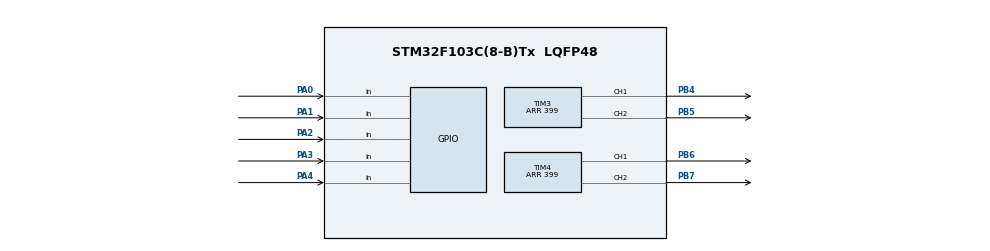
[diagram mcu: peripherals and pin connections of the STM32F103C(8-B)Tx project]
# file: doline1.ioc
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Mcu.Family=STM32F1
Mcu.Name=STM32F103C(8-B)Tx
Mcu.Package=LQFP48
NVIC.PriorityGroup=NVIC_PRIORITYGROUP_4
PA0-WKUP.Signal=GPIO_Input
PA1.Signal=GPIO_Input
PA13.Mode=Serial_Wire
PA13.Signal=SYS_JTMS-SWDIO
PA14.Mode=Serial_Wire
PA14.Signal=SYS_JTCK-SWCLK
PA2.Signal=GPIO_Input
PA3.Signal=GPIO_Input
PA4.Signal=GPIO_Input
PB4.Signal=S_TIM3_CH1
PB5.Signal=S_TIM3_CH2
PB6.Signal=S_TIM4_CH1
PB7.Signal=S_TIM4_CH2
ProjectManager.HeapSize=0x200
ProjectManager.StackSize=0x400
ProjectManager.TargetToolchain=STM32CubeIDE
RCC.APB1Freq_Value=8000000
RCC.APB2Freq_Value=8000000
SH.S_TIM3_CH1.0=TIM3_CH1,PWM Generation1 CH1
SH.S_TIM3_CH2.0=TIM3_CH2,PWM Generation2 CH2
SH.S_TIM4_CH1.0=TIM4_CH1,PWM Generation1 CH1
SH.S_TIM4_CH2.0=TIM4_CH2,PWM Generation2 CH2
TIM3.Channel-PWM\ Generation1\ CH1=TIM_CHANNEL_1
TIM3.Channel-PWM\ Generation2\ CH2=TIM_CHANNEL_2
TIM3.Period=399
TIM4.Channel-PWM\ Generation1\ CH1=TIM_CHANNEL_1
TIM4.Channel-PWM\ Generation2\ CH2=TIM_CHANNEL_2
TIM4.Period=399
board=custom

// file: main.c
/* USER CODE BEGIN Header */
/**
 * MCP201 - STM32F103C8T6 Blue Pill
 * LINE FOLLOWER - ON/OFF PWM v3.0
 *
 * LEFT MOTOR : PB6/PB7 - TIM4 CH1/CH2
 * RIGHT MOTOR: PB4/PB5 - TIM3 CH1/CH2
 *
 * S1 PA0 | S2 PA1 | S3 PA2 | S4 PA3 | S5 PA4
 *
 * BLACK = 0, WHITE = 1
 *
 * Motor commands: ONLY 0% or 65%
 * TIM3 requires partial remap PB4/PB5.
 * JTAG disabled, SWD enabled.
 */
/* USER CODE END Header */

#include "main.h"
#include <stdint.h>

/* Private variables */
TIM_HandleTypeDef htim3;
TIM_HandleTypeDef htim4;

/* USER CODE BEGIN PD */

#define RUN_MODE            2

// 0 = Sensor test (motors off)
// 1 = Straight motor test
// 2 = Automatic line following

#define MOTOR_ON            65
#define MOTOR_OFF           0

#define LOOP_MS             10U
#define LOST_CONFIRM_MS     30U
#define LOST_TIMEOUT_MS     500U

#define LINE_ACTIVE         0U

/* USER CODE END PD */

/* USER CODE BEGIN PV */

volatile uint8_t sensor[5] = {1, 1, 1, 1, 1};
volatile uint8_t sensor_mask = 0;
volatile uint8_t black_count = 0;

volatile float line_error = 0.0f;

volatile int16_t target_left = 0;
volatile int16_t target_right = 0;
volatile int16_t actual_left = 0;
volatile int16_t actual_right = 0;

volatile int8_t last_direction = 0;

volatile uint32_t lost_since = 0;
volatile uint8_t lost_active = 0;
volatile uint8_t emergency_latched = 0;

volatile uint8_t robot_state = 0;

// robot_state:
// 0 = STOP
// 1 = TRACKING
// 2 = LOST DEBOUNCE
// 3 = SHARP TURN SEARCH
// 4 = INVALID SENSOR PATTERN
// 5 = EMERGENCY STOP
// 7 = MOTOR TEST
// 8 = SENSOR TEST

/* USER CODE END PV */

/* Private function prototypes */
void SystemClock_Config(void);
static void MX_GPIO_Init(void);
static void MX_TIM4_Init(void);
static void MX_TIM3_Init(void);

/* USER CODE BEGIN 0 */

static void Motor_Write(
    TIM_HandleTypeDef *htim,
    uint32_t ch_forward,
    uint32_t ch_reverse,
    int16_t speed)
{
    // Strict ON/OFF output: 0 or 65 only.
    uint32_t pwm = (speed != 0) ? 260U : 0U;

    __HAL_TIM_SET_COMPARE(htim, ch_forward, 0);
    __HAL_TIM_SET_COMPARE(htim, ch_reverse, 0);

    if (speed > 0)
    {
        __HAL_TIM_SET_COMPARE(htim, ch_forward, pwm);
    }
    else if (speed < 0)
    {
        __HAL_TIM_SET_COMPARE(htim, ch_reverse, pwm);
    }
}

static void Motors_Set(int16_t left, int16_t right)
{
    // LEFT - TIM4 PB6/PB7
    Motor_Write(
        &htim4,
        TIM_CHANNEL_1,
        TIM_CHANNEL_2,
        left
    );

    // RIGHT - TIM3 PB4/PB5
    Motor_Write(
        &htim3,
        TIM_CHANNEL_1,
        TIM_CHANNEL_2,
        right
    );
}

static void Motors_Update(void)
{
    actual_left =
        (target_left > 0) ? MOTOR_ON : MOTOR_OFF;

    actual_right =
        (target_right > 0) ? MOTOR_ON : MOTOR_OFF;

    Motors_Set(actual_left, actual_right);
}

static void Motors_Stop(void)
{
    target_left = MOTOR_OFF;
    target_right = MOTOR_OFF;

    actual_left = MOTOR_OFF;
    actual_right = MOTOR_OFF;

    Motors_Set(MOTOR_OFF, MOTOR_OFF);
}

static void Emergency_Stop(void)
{
    emergency_latched = 1;
    robot_state = 5;
    Motors_Stop();
}

static void Sensors_Read(void)
{
    uint32_t pins = GPIOA->IDR;

    sensor_mask = 0;
    black_count = 0;

    for (uint8_t i = 0; i < 5; i++)
    {
        sensor[i] =
            (uint8_t)((pins >> i) & 1U);

        if (sensor[i] == LINE_ACTIVE)
        {
            sensor_mask |= (uint8_t)(1U << i);
            black_count++;
        }
    }
}

static uint8_t Sensors_Valid(void)
{
    // All black is ambiguous
    if (black_count == 5)
        return 0;

    uint8_t first = 5;
    uint8_t last = 0;

    for (uint8_t i = 0; i < 5; i++)
    {
        if (sensor[i] == LINE_ACTIVE)
        {
            if (first == 5)
                first = i;

            last = i;
        }
    }

    if (first == 5)
        return 0;

    // Reject non-contiguous black patterns
    for (uint8_t i = first; i <= last; i++)
    {
        if (sensor[i] != LINE_ACTIVE)
            return 0;
    }

    return 1;
}

static void Line_Follow_Update(void)
{
    Sensors_Read();

    // Remember direction using OUTER sensors only.
    // BLACK = 0
    if (sensor[0] == 0 && sensor[4] != 0)
    {
        last_direction = -1; // LEFT
    }
    else if (sensor[4] == 0 && sensor[0] != 0)
    {
        last_direction = 1;  // RIGHT
    }

    // ALL WHITE: keep searching until line returns
    if (black_count == 0)
    {
        robot_state = 3;

        if (last_direction < 0)
        {
            target_left = MOTOR_OFF;
            target_right = MOTOR_ON;
        }
        else if (last_direction > 0)
        {
            target_left = MOTOR_ON;
            target_right = MOTOR_OFF;
        }
        else
        {
            // No direction recorded yet
            target_left = MOTOR_OFF;
            target_right = MOTOR_OFF;
        }

        Motors_Update();
        return;
    }

    // ALL BLACK or invalid pattern
    if (!Sensors_Valid())
    {
        robot_state = 4;
        Motors_Stop();
        return;
    }

    // NORMAL LINE FOLLOWING
    // Weighted position S1..S5: -2,-1,0,+1,+2
    static const int8_t weights[5] =
    {
        -2, -1, 0, 1, 2
    };

    int16_t sum = 0;

    for (uint8_t i = 0; i < 5; i++)
    {
        if (sensor[i] == LINE_ACTIVE)
        {
            sum += weights[i];
        }
    }

    line_error = (float)sum / black_count;

    if (line_error < -0.01f)
    {
        target_left = MOTOR_OFF;
        target_right = MOTOR_ON;
    }
    else if (line_error > 0.01f)
    {
        target_left = MOTOR_ON;
        target_right = MOTOR_OFF;
    }
    else
    {
        target_left = MOTOR_ON;
        target_right = MOTOR_ON;
    }

    robot_state = 1;
    Motors_Update();
}

/* USER CODE END 0 */

int main(void)
{
    HAL_Init();
    SystemClock_Config();

    MX_GPIO_Init();
    MX_TIM4_Init();
    MX_TIM3_Init();

    /* USER CODE BEGIN 2 */

    if (HAL_TIM_PWM_Start(
        &htim3, TIM_CHANNEL_1) != HAL_OK)
        Error_Handler();

    if (HAL_TIM_PWM_Start(
        &htim3, TIM_CHANNEL_2) != HAL_OK)
        Error_Handler();

    if (HAL_TIM_PWM_Start(
        &htim4, TIM_CHANNEL_1) != HAL_OK)
        Error_Handler();

    if (HAL_TIM_PWM_Start(
        &htim4, TIM_CHANNEL_2) != HAL_OK)
        Error_Handler();

    Motors_Stop();

    /* USER CODE END 2 */

    while (1)
    {
        /* USER CODE BEGIN 3 */

#if RUN_MODE == 0

        Sensors_Read();
        Motors_Stop();
        robot_state = 8;

#elif RUN_MODE == 1

        Sensors_Read();

        target_left = MOTOR_ON;
        target_right = MOTOR_ON;

        robot_state = 7;
        Motors_Update();

#elif RUN_MODE == 2

        Line_Follow_Update();

#else

        Motors_Stop();

#endif

        HAL_Delay(LOOP_MS);

        /* USER CODE END 3 */
    }
}

/* System Clock Configuration */
void SystemClock_Config(void)
{
    RCC_OscInitTypeDef RCC_OscInitStruct = {0};
    RCC_ClkInitTypeDef RCC_ClkInitStruct = {0};

    RCC_OscInitStruct.OscillatorType =
        RCC_OSCILLATORTYPE_HSI;

    RCC_OscInitStruct.HSIState = RCC_HSI_ON;

    RCC_OscInitStruct.HSICalibrationValue =
        RCC_HSICALIBRATION_DEFAULT;

    RCC_OscInitStruct.PLL.PLLState = RCC_PLL_NONE;

    if (HAL_RCC_OscConfig(
        &RCC_OscInitStruct) != HAL_OK)
    {
        Error_Handler();
    }

    RCC_ClkInitStruct.ClockType =
        RCC_CLOCKTYPE_HCLK |
        RCC_CLOCKTYPE_SYSCLK |
        RCC_CLOCKTYPE_PCLK1 |
        RCC_CLOCKTYPE_PCLK2;

    RCC_ClkInitStruct.SYSCLKSource =
        RCC_SYSCLKSOURCE_HSI;

    RCC_ClkInitStruct.AHBCLKDivider =
        RCC_SYSCLK_DIV1;

    RCC_ClkInitStruct.APB1CLKDivider =
        RCC_HCLK_DIV1;

    RCC_ClkInitStruct.APB2CLKDivider =
        RCC_HCLK_DIV1;

    if (HAL_RCC_ClockConfig(
        &RCC_ClkInitStruct,
        FLASH_LATENCY_0) != HAL_OK)
    {
        Error_Handler();
    }
}

/* TIM3 Initialization */
static void MX_TIM3_Init(void)
{
    TIM_MasterConfigTypeDef sMasterConfig = {0};
    TIM_OC_InitTypeDef sConfigOC = {0};

    htim3.Instance = TIM3;
    htim3.Init.Prescaler = 0;
    htim3.Init.CounterMode = TIM_COUNTERMODE_UP;
    htim3.Init.Period = 399;
    htim3.Init.ClockDivision = TIM_CLOCKDIVISION_DIV1;
    htim3.Init.AutoReloadPreload =
        TIM_AUTORELOAD_PRELOAD_DISABLE;

    if (HAL_TIM_PWM_Init(&htim3) != HAL_OK)
        Error_Handler();

    sMasterConfig.MasterOutputTrigger =
        TIM_TRGO_RESET;

    sMasterConfig.MasterSlaveMode =
        TIM_MASTERSLAVEMODE_DISABLE;

    if (HAL_TIMEx_MasterConfigSynchronization(
        &htim3, &sMasterConfig) != HAL_OK)
        Error_Handler();

    sConfigOC.OCMode = TIM_OCMODE_PWM1;
    sConfigOC.Pulse = 0;
    sConfigOC.OCPolarity = TIM_OCPOLARITY_HIGH;
    sConfigOC.OCFastMode = TIM_OCFAST_DISABLE;

    if (HAL_TIM_PWM_ConfigChannel(
        &htim3, &sConfigOC, TIM_CHANNEL_1) != HAL_OK)
        Error_Handler();

    if (HAL_TIM_PWM_ConfigChannel(
        &htim3, &sConfigOC, TIM_CHANNEL_2) != HAL_OK)
        Error_Handler();

    HAL_TIM_MspPostInit(&htim3);
}

/* TIM4 Initialization */
static void MX_TIM4_Init(void)
{
    TIM_MasterConfigTypeDef sMasterConfig = {0};
    TIM_OC_InitTypeDef sConfigOC = {0};

    htim4.Instance = TIM4;
    htim4.Init.Prescaler = 0;
    htim4.Init.CounterMode = TIM_COUNTERMODE_UP;
    htim4.Init.Period = 399;
    htim4.Init.ClockDivision = TIM_CLOCKDIVISION_DIV1;
    htim4.Init.AutoReloadPreload =
        TIM_AUTORELOAD_PRELOAD_DISABLE;

    if (HAL_TIM_PWM_Init(&htim4) != HAL_OK)
        Error_Handler();

    sMasterConfig.MasterOutputTrigger =
        TIM_TRGO_RESET;

    sMasterConfig.MasterSlaveMode =
        TIM_MASTERSLAVEMODE_DISABLE;

    if (HAL_TIMEx_MasterConfigSynchronization(
        &htim4, &sMasterConfig) != HAL_OK)
        Error_Handler();

    sConfigOC.OCMode = TIM_OCMODE_PWM1;
    sConfigOC.Pulse = 0;
    sConfigOC.OCPolarity = TIM_OCPOLARITY_HIGH;
    sConfigOC.OCFastMode = TIM_OCFAST_DISABLE;

    if (HAL_TIM_PWM_ConfigChannel(
        &htim4, &sConfigOC, TIM_CHANNEL_1) != HAL_OK)
        Error_Handler();

    if (HAL_TIM_PWM_ConfigChannel(
        &htim4, &sConfigOC, TIM_CHANNEL_2) != HAL_OK)
        Error_Handler();

    HAL_TIM_MspPostInit(&htim4);
}

/* GPIO Initialization */
static void MX_GPIO_Init(void)
{
    GPIO_InitTypeDef GPIO_InitStruct = {0};

    __HAL_RCC_GPIOA_CLK_ENABLE();
    __HAL_RCC_GPIOB_CLK_ENABLE();

    GPIO_InitStruct.Pin =
        GPIO_PIN_0 |
        GPIO_PIN_1 |
        GPIO_PIN_2 |
        GPIO_PIN_3 |
        GPIO_PIN_4;

    GPIO_InitStruct.Mode = GPIO_MODE_INPUT;
    GPIO_InitStruct.Pull = GPIO_NOPULL;

    HAL_GPIO_Init(GPIOA, &GPIO_InitStruct);
}

/* Error Handler */
void Error_Handler(void)
{
    /* USER CODE BEGIN Error_Handler_Debug */

    if (__HAL_RCC_TIM3_IS_CLK_ENABLED())
    {
        TIM3->CCR1 = 0;
        TIM3->CCR2 = 0;
    }

    if (__HAL_RCC_TIM4_IS_CLK_ENABLED())
    {
        TIM4->CCR1 = 0;
        TIM4->CCR2 = 0;
    }

    __disable_irq();

    while (1)
    {
    }

    /* USER CODE END Error_Handler_Debug */
}

#ifdef USE_FULL_ASSERT
void assert_failed(uint8_t *file, uint32_t line)
{
    /* USER CODE BEGIN 6 */
    (void)file;
    (void)line;
    /* USER CODE END 6 */
}
#endif
